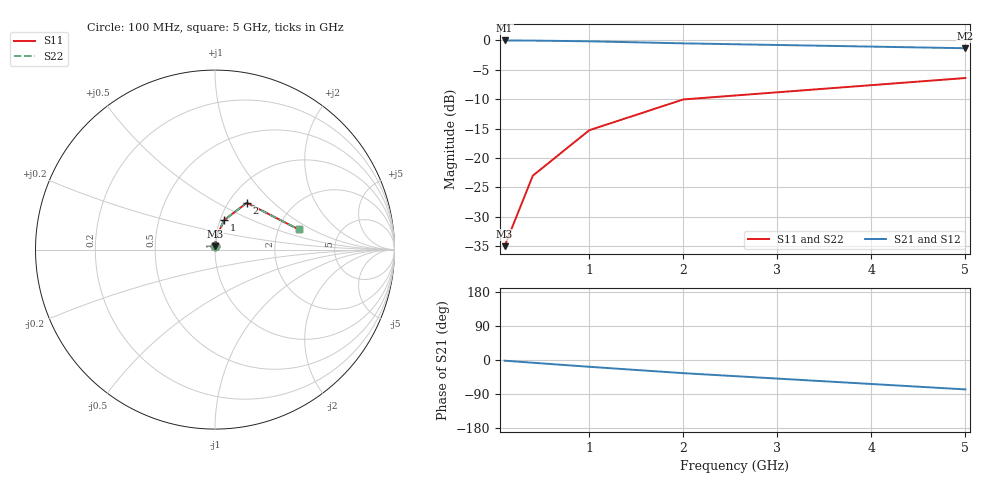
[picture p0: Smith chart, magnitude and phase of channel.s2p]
! Raw Palace field extraction; port order: U1.OUT, U2.IN
# Hz S RI R 50
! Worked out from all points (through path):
!   5 points, 100 MHz to 5 GHz, reference 50 ohm
!   highest |S21| = -0.01 dB at 100 MHz (marker M1); lowest = -1.3 dB at 5 GHz (marker M2)
!   lowest |S11| = -35.0 dB at 100 MHz (marker M3), VSWR 1.04, Z = 49.9 + j1.78 ohm
!   |S11| at or under -10 dB: start of sweep to 2.029 GHz
!   |S22| runs from -35.0 to -6.4 dB; largest |S21 - S12| = 1.8e-07
!   S11 on the Smith chart (normalised r, x): 100 MHz: 1.00, +0.04; 1 GHz: 1.05, +0.35; 2 GHz: 1.21, +0.70; 5 GHz: 2.58, +0.76
1e8  -0.000365 0.0178  0.9984 -0.0315  0.9984 -0.0315  -0.000365 0.0178
4e8  0.00767 0.0705  0.9882 -0.1253  0.9882 -0.1253  0.00767 0.0705
1e9  0.0512 0.1646  0.935 -0.3019  0.935 -0.3019  0.0512 0.1646
2e9  0.1771 0.2605  0.7758 -0.5377  0.7758 -0.5377  0.1771 0.2605
5e9  0.4656 0.1126  0.1843 -0.838  0.1843 -0.838  0.4655 0.1129
